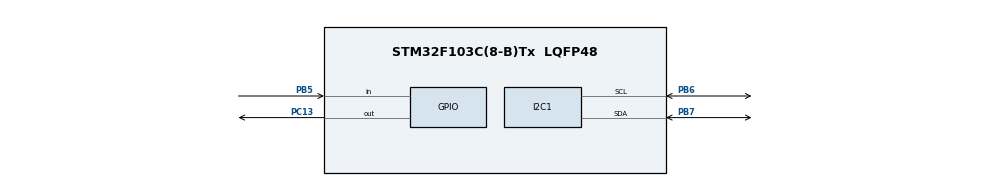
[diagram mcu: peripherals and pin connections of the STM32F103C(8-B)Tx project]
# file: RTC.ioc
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Mcu.Family=STM32F1
Mcu.Name=STM32F103C(8-B)Tx
Mcu.Package=LQFP48
NVIC.PriorityGroup=NVIC_PRIORITYGROUP_4
PA13.Mode=Serial_Wire
PA13.Signal=SYS_JTMS-SWDIO
PA14.Mode=Serial_Wire
PA14.Signal=SYS_JTCK-SWCLK
PB5.GPIO_PuPd=GPIO_PULLUP
PB5.Signal=GPIO_Input
PB6.Mode=I2C
PB6.Signal=I2C1_SCL
PB7.Mode=I2C
PB7.Signal=I2C1_SDA
PC13-TAMPER-RTC.Signal=GPIO_Output
ProjectManager.HeapSize=0x200
ProjectManager.StackSize=0x400
ProjectManager.TargetToolchain=STM32CubeIDE
RCC.APB1Freq_Value=8000000
RCC.APB2Freq_Value=8000000
VP_RTC_VS_RTC_Activate.Mode=RTC_Enabled
VP_RTC_VS_RTC_Calendar.Mode=RTC_Calendar
board=custom

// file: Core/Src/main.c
/* USER CODE BEGIN Header */
/**
  ******************************************************************************
  * @file           : main.c
  * @brief          : Main program body
  ******************************************************************************
  * @attention
  *
  * Copyright (c) 2026 STMicroelectronics.
  * All rights reserved.
  *
  * This software is licensed under terms that can be found in the LICENSE file
  * in the root directory of this software component.
  * If no LICENSE file comes with this software, it is provided AS-IS.
  *
  ******************************************************************************
  */
/* USER CODE END Header */
#include "main.h"

/* USER CODE BEGIN Includes */
#include "oled.h"
#include "stdio.h"
/* USER CODE END Includes */

I2C_HandleTypeDef hi2c1;

RTC_HandleTypeDef hrtc;

/* USER CODE BEGIN PV */
uint8_t cnt = 0;
uint8_t alarmHour = 6;
uint8_t alarmMinute = 30;
uint8_t alarmSecond = 0;
static char textBuffer[32];
uint32_t lastDisplayUpdate = 0;

/* USER CODE END PV */

void SystemClock_Config(void);
static void MX_GPIO_Init(void);
static void MX_I2C1_Init(void);
static void MX_RTC_Init(void);

/* USER CODE BEGIN 0 */
void Clock_SetTime(uint8_t h, uint8_t m, uint8_t s)
{
    RTC_TimeTypeDef time = {0};

    time.Hours = h;
    time.Minutes = m;
    time.Seconds = s;

    if (HAL_RTC_SetTime(&hrtc, &time, RTC_FORMAT_BIN) != HAL_OK)
    {
        Error_Handler();
    }
}

/*DOC THOI GIAN TU RTC*/
void Clock_GetTime(uint8_t *h, uint8_t *m, uint8_t *s)
{
    RTC_TimeTypeDef time = {0};

    if (HAL_RTC_GetTime(&hrtc, &time, RTC_FORMAT_BIN) == HAL_OK)
    {
        *h = time.Hours;
        *m = time.Minutes;
        *s = time.Seconds;
    }
}

uint8_t Button_Read(void)
{
    static GPIO_PinState lastState = GPIO_PIN_SET;
    GPIO_PinState currentState;

    currentState = HAL_GPIO_ReadPin(GPIOB, GPIO_PIN_5);

    if (currentState == GPIO_PIN_RESET && lastState == GPIO_PIN_SET)
    {
        lastState = currentState;
        return 1;
    }

    lastState = currentState;
    return 0;
}
/* USER CODE END 0 */

int main(void)
{

  /* MCU Configuration--------------------------------------------------------*/

  /* Reset of all peripherals, Initializes the Flash interface and the Systick. */
  HAL_Init();

  /* Configure the system clock */
  SystemClock_Config();

  /* Initialize all configured peripherals */
  MX_GPIO_Init();
  MX_I2C1_Init();
  MX_RTC_Init();
  /* USER CODE BEGIN 2 */
  OLED_Init();
  OLED_Clear();
  HAL_Delay(300);
  /* USER CODE END 2 */

  /* Infinite loop */
  /* USER CODE BEGIN WHILE */
  while (1)
  {
	cnt += Button_Read();
	if(cnt == 0){
		OLED_Clear();
		OLED_SetCursor(20, 16);
		OLED_WriteString("ALARM CLOCK", 1);
		OLED_SetCursor(20, 36);
		OLED_WriteString("RTC STM32F103", 1);
		OLED_UpdateScreen();
		HAL_Delay(200);
	}
	else if(cnt == 1){
		OLED_Clear();
		Clock_SetTime(alarmHour,alarmMinute,alarmSecond);
	    sprintf(textBuffer, "%02u:%02u:%02u", alarmHour, alarmMinute, alarmSecond);
	    OLED_SetCursor(16, 22);
	    OLED_WriteString(textBuffer, 2);
	    OLED_UpdateScreen();
	}
	else if(cnt == 2){
		OLED_Clear();
		OLED_SetCursor(42, 25);
		OLED_WriteString("DA LUU", 1);
		OLED_UpdateScreen();
	}
	else if(cnt == 3){
		OLED_Clear();
		if ((HAL_GetTick() - lastDisplayUpdate) >= 200)
		{
			lastDisplayUpdate = HAL_GetTick();
			uint8_t h, m, s;
			Clock_GetTime(&h, &m, &s);
			sprintf(textBuffer, "%02u:%02u:%02u", h, m, s);
			OLED_SetCursor(16, 22);
			OLED_WriteString(textBuffer, 2);
			OLED_UpdateScreen();
		}
	}
	else{
		cnt = 0;
	}

    /* USER CODE END WHILE */

  }
}

void SystemClock_Config(void)
{
  RCC_OscInitTypeDef RCC_OscInitStruct = {0};
  RCC_ClkInitTypeDef RCC_ClkInitStruct = {0};
  RCC_PeriphCLKInitTypeDef PeriphClkInit = {0};

  /** Initializes the RCC Oscillators according to the specified parameters
  * in the RCC_OscInitTypeDef structure.
  */
  RCC_OscInitStruct.OscillatorType = RCC_OSCILLATORTYPE_HSI|RCC_OSCILLATORTYPE_LSI;
  RCC_OscInitStruct.HSIState = RCC_HSI_ON;
  RCC_OscInitStruct.HSICalibrationValue = RCC_HSICALIBRATION_DEFAULT;
  RCC_OscInitStruct.LSIState = RCC_LSI_ON;
  RCC_OscInitStruct.PLL.PLLState = RCC_PLL_NONE;
  if (HAL_RCC_OscConfig(&RCC_OscInitStruct) != HAL_OK)
  {
    Error_Handler();
  }

  /** Initializes the CPU, AHB and APB buses clocks
  */
  RCC_ClkInitStruct.ClockType = RCC_CLOCKTYPE_HCLK|RCC_CLOCKTYPE_SYSCLK
                              |RCC_CLOCKTYPE_PCLK1|RCC_CLOCKTYPE_PCLK2;
  RCC_ClkInitStruct.SYSCLKSource = RCC_SYSCLKSOURCE_HSI;
  RCC_ClkInitStruct.AHBCLKDivider = RCC_SYSCLK_DIV1;
  RCC_ClkInitStruct.APB1CLKDivider = RCC_HCLK_DIV1;
  RCC_ClkInitStruct.APB2CLKDivider = RCC_HCLK_DIV1;

  if (HAL_RCC_ClockConfig(&RCC_ClkInitStruct, FLASH_LATENCY_0) != HAL_OK)
  {
    Error_Handler();
  }
  PeriphClkInit.PeriphClockSelection = RCC_PERIPHCLK_RTC;
  PeriphClkInit.RTCClockSelection = RCC_RTCCLKSOURCE_LSI;
  if (HAL_RCCEx_PeriphCLKConfig(&PeriphClkInit) != HAL_OK)
  {
    Error_Handler();
  }
}

static void MX_I2C1_Init(void)
{

  hi2c1.Instance = I2C1;
  hi2c1.Init.ClockSpeed = 100000;
  hi2c1.Init.DutyCycle = I2C_DUTYCYCLE_2;
  hi2c1.Init.OwnAddress1 = 0;
  hi2c1.Init.AddressingMode = I2C_ADDRESSINGMODE_7BIT;
  hi2c1.Init.DualAddressMode = I2C_DUALADDRESS_DISABLE;
  hi2c1.Init.OwnAddress2 = 0;
  hi2c1.Init.GeneralCallMode = I2C_GENERALCALL_DISABLE;
  hi2c1.Init.NoStretchMode = I2C_NOSTRETCH_DISABLE;
  if (HAL_I2C_Init(&hi2c1) != HAL_OK)
  {
    Error_Handler();
  }

}

static void MX_RTC_Init(void)
{

  RTC_TimeTypeDef sTime = {0};
  RTC_DateTypeDef DateToUpdate = {0};

  /** Initialize RTC Only
  */
  hrtc.Instance = RTC;
  hrtc.Init.AsynchPrediv = RTC_AUTO_1_SECOND;
  hrtc.Init.OutPut = RTC_OUTPUTSOURCE_ALARM;
  if (HAL_RTC_Init(&hrtc) != HAL_OK)
  {
    Error_Handler();
  }

  /** Initialize RTC and set the Time and Date
  */
  sTime.Hours = 0x0;
  sTime.Minutes = 0x0;
  sTime.Seconds = 0x0;

  if (HAL_RTC_SetTime(&hrtc, &sTime, RTC_FORMAT_BCD) != HAL_OK)
  {
    Error_Handler();
  }
  DateToUpdate.WeekDay = RTC_WEEKDAY_MONDAY;
  DateToUpdate.Month = RTC_MONTH_JANUARY;
  DateToUpdate.Date = 0x1;
  DateToUpdate.Year = 0x0;

  if (HAL_RTC_SetDate(&hrtc, &DateToUpdate, RTC_FORMAT_BCD) != HAL_OK)
  {
    Error_Handler();
  }

}

static void MX_GPIO_Init(void)
{
  GPIO_InitTypeDef GPIO_InitStruct = {0};

  /* GPIO Ports Clock Enable */
  __HAL_RCC_GPIOC_CLK_ENABLE();
  __HAL_RCC_GPIOA_CLK_ENABLE();
  __HAL_RCC_GPIOB_CLK_ENABLE();

  /*Configure GPIO pin Output Level */
  HAL_GPIO_WritePin(GPIOC, GPIO_PIN_13, GPIO_PIN_RESET);

  /*Configure GPIO pin : PC13 */
  GPIO_InitStruct.Pin = GPIO_PIN_13;
  GPIO_InitStruct.Mode = GPIO_MODE_OUTPUT_PP;
  GPIO_InitStruct.Pull = GPIO_NOPULL;
  GPIO_InitStruct.Speed = GPIO_SPEED_FREQ_LOW;
  HAL_GPIO_Init(GPIOC, &GPIO_InitStruct);

  /*Configure GPIO pin : PB5 */
  GPIO_InitStruct.Pin = GPIO_PIN_5;
  GPIO_InitStruct.Mode = GPIO_MODE_INPUT;
  GPIO_InitStruct.Pull = GPIO_PULLUP;
  HAL_GPIO_Init(GPIOB, &GPIO_InitStruct);

}

void Error_Handler(void)
{
  __disable_irq();
  while (1)
  {
  }
}
